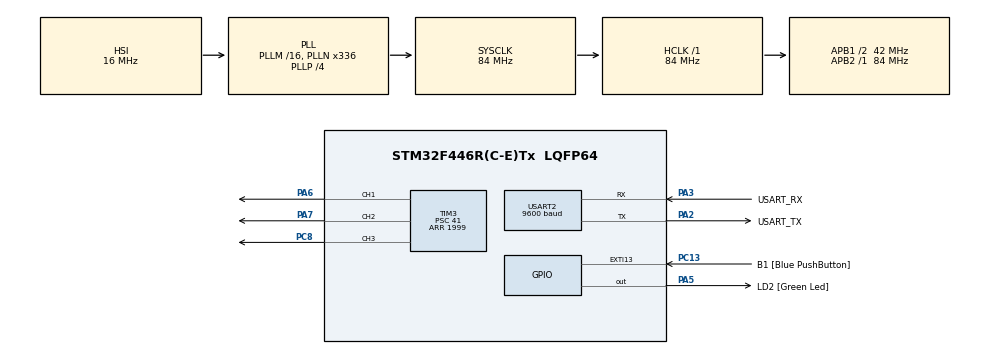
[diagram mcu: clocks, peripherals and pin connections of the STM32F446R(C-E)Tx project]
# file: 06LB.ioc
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Mcu.Family=STM32F4
Mcu.Name=STM32F446R(C-E)Tx
Mcu.Package=LQFP64
NVIC.PriorityGroup=NVIC_PRIORITYGROUP_0
NVIC.USART2_IRQn=true\:0\:0\:false\:false\:true\:true\:true\:true
PA13.GPIO_Label=TMS
PA13.Signal=SYS_JTMS-SWDIO
PA14.GPIO_Label=TCK
PA14.Signal=SYS_JTCK-SWCLK
PA2.GPIO_Label=USART_TX
PA2.Mode=Asynchronous
PA2.Signal=USART2_TX
PA3.GPIO_Label=USART_RX
PA3.Mode=Asynchronous
PA3.Signal=USART2_RX
PA5.GPIO_Label=LD2 [Green Led]
PA5.Signal=GPIO_Output
PA6.Signal=S_TIM3_CH1
PA7.Signal=S_TIM3_CH2
PB3.GPIO_Label=SWO
PB3.Signal=SYS_JTDO-SWO
PC13.GPIO_Label=B1 [Blue PushButton]
PC13.GPIO_ModeDefaultEXTI=GPIO_MODE_IT_FALLING
PC13.Signal=GPXTI13
PC14-OSC32_IN.Signal=RCC_OSC32_IN
PC15-OSC32_OUT.Signal=RCC_OSC32_OUT
PC8.Signal=S_TIM3_CH3
PH0-OSC_IN.Signal=RCC_OSC_IN
PH1-OSC_OUT.Signal=RCC_OSC_OUT
ProjectManager.HeapSize=0x200
ProjectManager.StackSize=0x400
ProjectManager.TargetToolchain=STM32CubeIDE
RCC.AHBFreq_Value=84000000
RCC.APB1CLKDivider=RCC_HCLK_DIV2
RCC.APB1Freq_Value=42000000
RCC.APB1TimFreq_Value=84000000
RCC.APB2Freq_Value=84000000
RCC.APB2TimFreq_Value=84000000
RCC.CortexFreq_Value=84000000
RCC.FLatency-AdvancedSettings=FLASH_LATENCY_2
RCC.HCLKFreq_Value=84000000
RCC.HSE_VALUE=8000000
RCC.HSI_VALUE=16000000
RCC.LSE_VALUE=32768
RCC.PLLN=336
RCC.PLLP=RCC_PLLP_DIV4
RCC.SYSCLKFreq_VALUE=84000000
RCC.SYSCLKSource=RCC_SYSCLKSOURCE_PLLCLK
RCC.USBFreq_Value=168000000
RCC.VCOOutputFreq_Value=336000000
SH.S_TIM3_CH1.0=TIM3_CH1,PWM Generation1 CH1
SH.S_TIM3_CH2.0=TIM3_CH2,PWM Generation2 CH2
SH.S_TIM3_CH3.0=TIM3_CH3,PWM Generation3 CH3
TIM3.Channel-PWM\ Generation1\ CH1=TIM_CHANNEL_1
TIM3.Channel-PWM\ Generation2\ CH2=TIM_CHANNEL_2
TIM3.Channel-PWM\ Generation3\ CH3=TIM_CHANNEL_3
TIM3.OCPolarity_1=TIM_OCPOLARITY_LOW
TIM3.OCPolarity_2=TIM_OCPOLARITY_LOW
TIM3.OCPolarity_3=TIM_OCPOLARITY_LOW
TIM3.Period=1999
TIM3.Prescaler=41
TIM3.Pulse-PWM\ Generation3\ CH3=0
USART2.BaudRate=9600
USART2.VirtualMode=VM_ASYNC
VP_TIM3_VS_ClockSourceINT.Mode=Internal
board=NUCLEO-F446RE

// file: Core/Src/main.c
/* USER CODE BEGIN Header */
/**
  ******************************************************************************
  * @file           : main.c
  * @brief          : Main program body
  ******************************************************************************
  * @attention
  *
  * Copyright (c) 2025 STMicroelectronics.
  * All rights reserved.
  *
  * This software is licensed under terms that can be found in the LICENSE file
  * in the root directory of this software component.
  * If no LICENSE file comes with this software, it is provided AS-IS.
  *
  ******************************************************************************
  */
/* USER CODE END Header */
#include "main.h"

/* USER CODE BEGIN Includes */

#include <stdio.h>
#include <string.h>

/* USER CODE END Includes */

TIM_HandleTypeDef htim3;

UART_HandleTypeDef huart2;

/* USER CODE BEGIN PV */

uint8_t ui8RXCh;

uint16_t ui16R, ui16G, ui16B;

/* USER CODE END PV */

void SystemClock_Config(void);
static void MX_GPIO_Init(void);
static void MX_TIM3_Init(void);
static void MX_USART2_UART_Init(void);

int main(void)
{

  /* MCU Configuration--------------------------------------------------------*/

  /* Reset of all peripherals, Initializes the Flash interface and the Systick. */
  HAL_Init();

  /* Configure the system clock */
  SystemClock_Config();

  /* Initialize all configured peripherals */
  MX_GPIO_Init();
  MX_TIM3_Init();
  MX_USART2_UART_Init();
  /* USER CODE BEGIN 2 */

  HAL_TIM_PWM_Start(&htim3, TIM_CHANNEL_1);
  HAL_TIM_PWM_Start(&htim3, TIM_CHANNEL_2);
  HAL_TIM_PWM_Start(&htim3, TIM_CHANNEL_3);

  HAL_UART_Receive_IT(&huart2, &ui8RXCh, 1);

  /* USER CODE END 2 */

  /* Infinite loop */
  while (1)
  {

  }
}

void SystemClock_Config(void)
{
  RCC_OscInitTypeDef RCC_OscInitStruct = {0};
  RCC_ClkInitTypeDef RCC_ClkInitStruct = {0};

  /** Configure the main internal regulator output voltage
  */
  __HAL_RCC_PWR_CLK_ENABLE();
  __HAL_PWR_VOLTAGESCALING_CONFIG(PWR_REGULATOR_VOLTAGE_SCALE3);

  /** Initializes the RCC Oscillators according to the specified parameters
  * in the RCC_OscInitTypeDef structure.
  */
  RCC_OscInitStruct.OscillatorType = RCC_OSCILLATORTYPE_HSI;
  RCC_OscInitStruct.HSIState = RCC_HSI_ON;
  RCC_OscInitStruct.HSICalibrationValue = RCC_HSICALIBRATION_DEFAULT;
  RCC_OscInitStruct.PLL.PLLState = RCC_PLL_ON;
  RCC_OscInitStruct.PLL.PLLSource = RCC_PLLSOURCE_HSI;
  RCC_OscInitStruct.PLL.PLLM = 16;
  RCC_OscInitStruct.PLL.PLLN = 336;
  RCC_OscInitStruct.PLL.PLLP = RCC_PLLP_DIV4;
  RCC_OscInitStruct.PLL.PLLQ = 2;
  RCC_OscInitStruct.PLL.PLLR = 2;
  if (HAL_RCC_OscConfig(&RCC_OscInitStruct) != HAL_OK)
  {
    Error_Handler();
  }

  /** Initializes the CPU, AHB and APB buses clocks
  */
  RCC_ClkInitStruct.ClockType = RCC_CLOCKTYPE_HCLK|RCC_CLOCKTYPE_SYSCLK
                              |RCC_CLOCKTYPE_PCLK1|RCC_CLOCKTYPE_PCLK2;
  RCC_ClkInitStruct.SYSCLKSource = RCC_SYSCLKSOURCE_PLLCLK;
  RCC_ClkInitStruct.AHBCLKDivider = RCC_SYSCLK_DIV1;
  RCC_ClkInitStruct.APB1CLKDivider = RCC_HCLK_DIV2;
  RCC_ClkInitStruct.APB2CLKDivider = RCC_HCLK_DIV1;

  if (HAL_RCC_ClockConfig(&RCC_ClkInitStruct, FLASH_LATENCY_2) != HAL_OK)
  {
    Error_Handler();
  }
}

static void MX_TIM3_Init(void)
{

  TIM_ClockConfigTypeDef sClockSourceConfig = {0};
  TIM_MasterConfigTypeDef sMasterConfig = {0};
  TIM_OC_InitTypeDef sConfigOC = {0};

  htim3.Instance = TIM3;
  htim3.Init.Prescaler = 41;
  htim3.Init.CounterMode = TIM_COUNTERMODE_UP;
  htim3.Init.Period = 1999;
  htim3.Init.ClockDivision = TIM_CLOCKDIVISION_DIV1;
  htim3.Init.AutoReloadPreload = TIM_AUTORELOAD_PRELOAD_DISABLE;
  if (HAL_TIM_Base_Init(&htim3) != HAL_OK)
  {
    Error_Handler();
  }
  sClockSourceConfig.ClockSource = TIM_CLOCKSOURCE_INTERNAL;
  if (HAL_TIM_ConfigClockSource(&htim3, &sClockSourceConfig) != HAL_OK)
  {
    Error_Handler();
  }
  if (HAL_TIM_PWM_Init(&htim3) != HAL_OK)
  {
    Error_Handler();
  }
  sMasterConfig.MasterOutputTrigger = TIM_TRGO_RESET;
  sMasterConfig.MasterSlaveMode = TIM_MASTERSLAVEMODE_DISABLE;
  if (HAL_TIMEx_MasterConfigSynchronization(&htim3, &sMasterConfig) != HAL_OK)
  {
    Error_Handler();
  }
  sConfigOC.OCMode = TIM_OCMODE_PWM1;
  sConfigOC.Pulse = 0;
  sConfigOC.OCPolarity = TIM_OCPOLARITY_LOW;
  sConfigOC.OCFastMode = TIM_OCFAST_DISABLE;
  if (HAL_TIM_PWM_ConfigChannel(&htim3, &sConfigOC, TIM_CHANNEL_1) != HAL_OK)
  {
    Error_Handler();
  }
  if (HAL_TIM_PWM_ConfigChannel(&htim3, &sConfigOC, TIM_CHANNEL_2) != HAL_OK)
  {
    Error_Handler();
  }
  if (HAL_TIM_PWM_ConfigChannel(&htim3, &sConfigOC, TIM_CHANNEL_3) != HAL_OK)
  {
    Error_Handler();
  }
  HAL_TIM_MspPostInit(&htim3);

}

static void MX_USART2_UART_Init(void)
{

  huart2.Instance = USART2;
  huart2.Init.BaudRate = 9600;
  huart2.Init.WordLength = UART_WORDLENGTH_8B;
  huart2.Init.StopBits = UART_STOPBITS_1;
  huart2.Init.Parity = UART_PARITY_NONE;
  huart2.Init.Mode = UART_MODE_TX_RX;
  huart2.Init.HwFlowCtl = UART_HWCONTROL_NONE;
  huart2.Init.OverSampling = UART_OVERSAMPLING_16;
  if (HAL_UART_Init(&huart2) != HAL_OK)
  {
    Error_Handler();
  }

}

static void MX_GPIO_Init(void)
{
  GPIO_InitTypeDef GPIO_InitStruct = {0};

  /* GPIO Ports Clock Enable */
  __HAL_RCC_GPIOC_CLK_ENABLE();
  __HAL_RCC_GPIOH_CLK_ENABLE();
  __HAL_RCC_GPIOA_CLK_ENABLE();
  __HAL_RCC_GPIOB_CLK_ENABLE();

  /*Configure GPIO pin Output Level */
  HAL_GPIO_WritePin(LD2_GPIO_Port, LD2_Pin, GPIO_PIN_RESET);

  /*Configure GPIO pin : B1_Pin */
  GPIO_InitStruct.Pin = B1_Pin;
  GPIO_InitStruct.Mode = GPIO_MODE_IT_FALLING;
  GPIO_InitStruct.Pull = GPIO_NOPULL;
  HAL_GPIO_Init(B1_GPIO_Port, &GPIO_InitStruct);

  /*Configure GPIO pin : LD2_Pin */
  GPIO_InitStruct.Pin = LD2_Pin;
  GPIO_InitStruct.Mode = GPIO_MODE_OUTPUT_PP;
  GPIO_InitStruct.Pull = GPIO_NOPULL;
  GPIO_InitStruct.Speed = GPIO_SPEED_FREQ_LOW;
  HAL_GPIO_Init(LD2_GPIO_Port, &GPIO_InitStruct);

}

/* USER CODE BEGIN 4 */
void HAL_UART_RxCpltCallback(UART_HandleTypeDef *huart)
{
  /* Prevent unused argument(s) compilation warning */
  //UNUSED(huart);
  /* NOTE: This function should not be modified, when the callback is needed,
           the HAL_UART_RxCpltCallback could be implemented in the user file
   */

	if(ui8RXCh == 'R')
	{
		if(ui16R < 1990)
		{
			ui16R += 10;
			__HAL_TIM_SET_COMPARE(&htim3,TIM_CHANNEL_1,ui16R);
		}
	}
	if(ui8RXCh == 'r')
	{
		if(ui16R > 9)
		{
			ui16R -= 10;
			__HAL_TIM_SET_COMPARE(&htim3,TIM_CHANNEL_1,ui16R);
		}
	}

	if(ui8RXCh == 'G')
	{
		if(ui16G < 1990)
		{
			ui16G += 10;
			__HAL_TIM_SET_COMPARE(&htim3,TIM_CHANNEL_2,ui16G);
		}
	}
	if(ui8RXCh == 'g')
	{
		if(ui16G > 9)
		{
			ui16G -= 10;
			__HAL_TIM_SET_COMPARE(&htim3,TIM_CHANNEL_2,ui16G);
		}
	}

	if(ui8RXCh == 'B')
	{
		if(ui16B < 1990)
		{
			ui16B += 10;
			__HAL_TIM_SET_COMPARE(&htim3,TIM_CHANNEL_3,ui16B);
		}
	}
	if(ui8RXCh == 'b')
	{
		if(ui16B > 9)
		{
			ui16B -= 10;
			__HAL_TIM_SET_COMPARE(&htim3,TIM_CHANNEL_3,ui16B);
		}
	}

	//if(ui8RXCh == 'i')
	//{
		char chTXBuffer[100];
		sprintf(chTXBuffer,"R=%d, G=%d, B=%d\r\n",ui16R, ui16G, ui16B);
		HAL_UART_Transmit(huart, (uint8_t*)chTXBuffer, strlen(chTXBuffer), HAL_MAX_DELAY);
	//}

	HAL_UART_Receive_IT(&huart2, &ui8RXCh, 1);
}

/* USER CODE END 4 */

void Error_Handler(void)
{
  __disable_irq();
  while (1)
  {
  }
}
